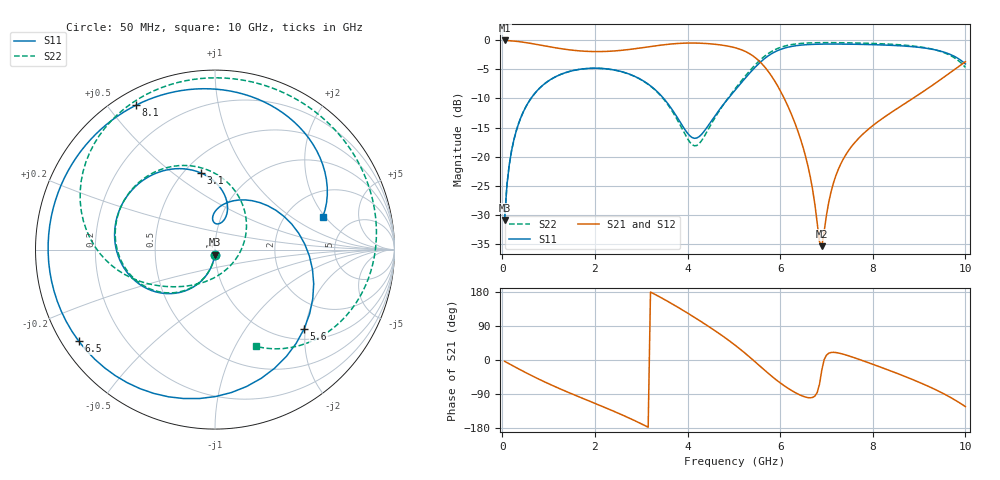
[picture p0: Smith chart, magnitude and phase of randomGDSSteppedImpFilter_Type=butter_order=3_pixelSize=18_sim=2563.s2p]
! freq	dB(S11)	phase(S11)	dB(S12)	phase(S12)
!  dB(S21)	phase(S21)	dB(S22)	phase(S22)
!S-par simulation data
#  GHz  S  DB  R 50
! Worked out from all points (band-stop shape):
!   200 points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, 50 MHz to 10 GHz, reference 50 ohm
!   highest |S21| = -0.01 dB at 50 MHz (marker M1); lowest = -35.4 dB at 6.9 GHz (marker M2)
!   |S21| within 3 dB of the highest: start of sweep to 5.468 GHz
!   lowest |S11| = -30.9 dB at 50 MHz (marker M3), VSWR 1.06, Z = 49.8 - j2.83 ohm
!   |S11| at or under -10 dB: start of sweep to 619.3 MHz; 3.485 GHz to 4.878 GHz (1.393 GHz wide, 33.3 % of centre)
!   |S22| runs from -30.9 to -0.4 dB; largest |S21 - S12| = 0
!   S11 on the Smith chart (normalised r, x): 50 MHz: 1.00, -0.06; 3.1 GHz: 0.60, +0.64; 5.6 GHz: 1.25, -1.97; 6.5 GHz: 0.05, -0.30; 8.1 GHz: 0.06, +0.59; 10 GHz: 3.15, +1.88
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0.05  -30.93 -93.4  -0.01 -3.4  -0.01 -3.4  -30.93 -93.4
0.2  -19.01 -103.8  -0.08 -13.5  -0.08 -13.5  -19.00 -104.0
0.5  -11.57 -123.2  -0.36 -32.9  -0.36 -32.9  -11.57 -123.8
1.05  -6.70 -155.3  -1.13 -65.4  -1.13 -65.4  -6.71 -156.6
1.75  -4.89 168.8  -1.85 -101.9  -1.85 -101.9  -4.90 166.5
2.5  -5.23 131.8  -1.76 -140.1  -1.76 -140.1  -5.24 127.7
3.1  -7.25 100.4  -1.17 -174.3  -1.17 -174.3  -7.29 91.9
3.4  -9.26 84.9  -0.84 166.5  -0.84 166.5  -9.35 70.0
3.8  -13.54 71.6  -0.52 138.6  -0.52 138.6  -13.97 29.8
4.3  -16.21 93.1  -0.49 100.8  -0.49 100.8  -17.30 -74.4
4.65  -12.34 83.4  -0.71 72.6  -0.71 72.6  -12.56 -122.7
5.05  -8.35 39.6  -1.31 37.0  -1.31 37.0  -8.10 -150.0
5.6  -3.55 -41.7  -3.98 -19.9  -3.98 -19.9  -3.14 175.2
6  -1.57 -96.0  -8.62 -60.3  -8.62 -60.3  -1.22 145.8
6.5  -0.77 -146.2  -18.56 -95.9  -18.56 -95.9  -0.49 113.7
6.7  -0.68 -161.8  -25.65 -98.9  -25.65 -98.9  -0.41 102.5
6.9  -0.64 -175.7  -35.44 -26.3  -35.44 -26.3  -0.38 92.1
7.3  -0.63 160.0  -21.42 17.4  -21.42 17.4  -0.39 72.6
8.1  -0.75 118.7  -14.07 -15.7  -14.07 -15.7  -0.55 36.3
8.35  -0.83 106.5  -12.67 -27.1  -12.67 -27.1  -0.64 25.0
9.2  -1.41 63.7  -8.21 -69.4  -8.21 -69.4  -1.35 -15.8
10  -4.05 16.8  -3.67 -123.0  -3.67 -123.0  -4.65 -67.1
